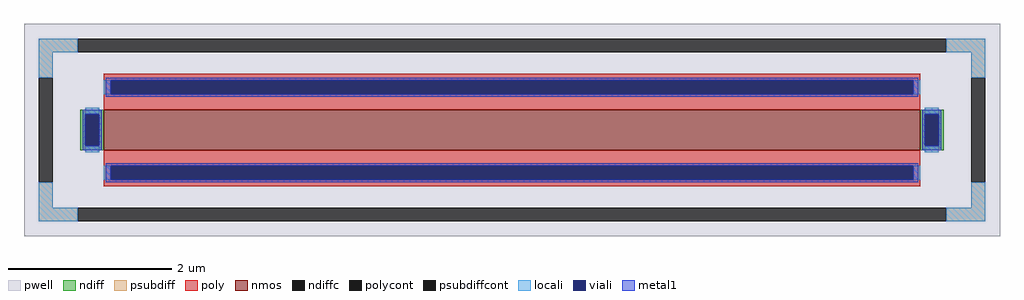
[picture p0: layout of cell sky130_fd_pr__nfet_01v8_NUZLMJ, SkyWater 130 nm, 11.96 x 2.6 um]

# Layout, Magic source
magic
tech sky130A
<< pwell >>
rect -598 -130 598 130
<< nmos >>
rect -500 -25 500 25
<< ndiff >>
rect -529 19 -500 25
rect -529 -19 -523 19
rect -506 -19 -500 19
rect -529 -25 -500 -19
rect 500 19 529 25
rect 500 -19 506 19
rect 523 -19 529 19
rect 500 -25 529 -19
<< ndiffc >>
rect -523 -19 -506 19
rect 506 -19 523 19
<< psubdiff >>
rect -580 95 -532 112
rect 532 95 580 112
rect -580 64 -563 95
rect 563 64 580 95
rect -580 -95 -563 -64
rect 563 -95 580 -64
rect -580 -112 -532 -95
rect 532 -112 580 -95
<< psubdiffcont >>
rect -532 95 532 112
rect -580 -64 -563 64
rect 563 -64 580 64
rect -532 -112 532 -95
<< poly >>
rect -500 61 500 69
rect -500 44 -492 61
rect 492 44 500 61
rect -500 25 500 44
rect -500 -44 500 -25
rect -500 -61 -492 -44
rect 492 -61 500 -44
rect -500 -69 500 -61
<< polycont >>
rect -492 44 492 61
rect -492 -61 492 -44
<< locali >>
rect -580 95 -532 112
rect 532 95 580 112
rect -580 64 -563 95
rect 563 64 580 95
rect -500 44 -492 61
rect 492 44 500 61
rect -523 19 -506 27
rect -523 -27 -506 -19
rect 506 19 523 27
rect 506 -27 523 -19
rect -500 -61 -492 -44
rect 492 -61 500 -44
rect -580 -95 -563 -64
rect 563 -95 580 -64
rect -580 -112 -532 -95
rect 532 -112 580 -95
<< viali >>
rect -492 44 492 61
rect -523 -19 -506 19
rect 506 -19 523 19
rect -492 -61 492 -44
<< metal1 >>
rect -498 61 498 64
rect -498 44 -492 61
rect 492 44 498 61
rect -498 41 498 44
rect -526 19 -503 25
rect -526 -19 -523 19
rect -506 -19 -503 19
rect -526 -25 -503 -19
rect 503 19 526 25
rect 503 -19 506 19
rect 523 -19 526 19
rect 503 -25 526 -19
rect -498 -44 498 -41
rect -498 -61 -492 -44
rect 492 -61 498 -44
rect -498 -64 498 -61
<< properties >>
string FIXED_BBOX -571 -103 571 103
string gencell sky130_fd_pr__nfet_01v8
string library sky130
string parameters w 0.5 l 10.0 m 1 nf 1 diffcov 100 polycov 100 guard 1 glc 1 grc 1 gtc 1 gbc 1 tbcov 100 rlcov 100 topc 1 botc 1 poverlap 0 doverlap 1 lmin 0.15 wmin 0.42 compatible {sky130_fd_pr__nfet_01v8 sky130_fd_pr__nfet_01v8_lvt  sky130_fd_bs_flash__special_sonosfet_star  sky130_fd_pr__nfet_g5v0d10v5 sky130_fd_pr__nfet_05v0_nvt  sky130_fd_pr__nfet_03v3_nvt} full_metal 1 viasrc 100 viadrn 100 viagate 100 viagb 0 viagr 0 viagl 0 viagt 0
<< end >>
